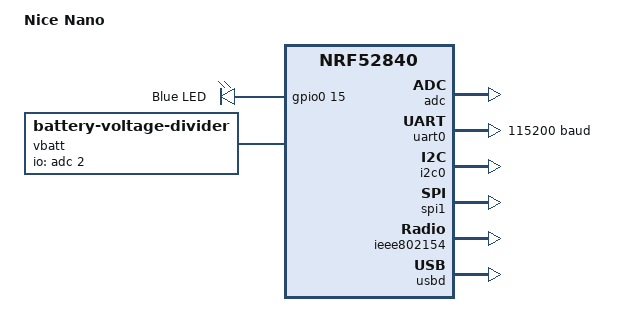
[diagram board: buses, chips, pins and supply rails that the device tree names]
/*
 * Copyright (c) 2020 Tobias Svehagen
 *
 * SPDX-License-Identifier: Apache-2.0
 */

/dts-v1/;
#include <nordic/nrf52840_qiaa.dtsi>
#include "nicenano-pinctrl.dtsi"
#include "nicenano_connector.dtsi"
#include <zephyr/dt-bindings/input/input-event-codes.h>

/ {
	model = "Nice Nano";
	compatible = "custom,nicenano";

	chosen {
		zephyr,console = &usb_cdc_acm_uart;
		zephyr,shell-uart = &usb_cdc_acm_uart;
		zephyr,uart-mcumgr = &usb_cdc_acm_uart;
		zephyr,bt-mon-uart = &usb_cdc_acm_uart;
		zephyr,bt-c2h-uart = &usb_cdc_acm_uart;
		zephyr,sram = &sram0;
		zephyr,flash = &flash0;
		zephyr,code-partition = &code_partition;
		zephyr,ieee802154 = &ieee802154;
	};

	leds {
		compatible = "gpio-leds";
		led0: led_0 {
			gpios = <&gpio0 15 GPIO_ACTIVE_HIGH>;
			label = "Blue LED";
		};
	};

        vbatt {
                compatible = "zmk,battery-voltage-divider";
                io-channels = <&adc 2>;
                output-ohms = <2000000>;
                full-ohms = <(2000000 + 806000)>;
        };

	/* These aliases are provided for compatibility with samples */
	aliases {
		led0 = &led0;
		watchdog0 = &wdt0;
	};
};

&adc {
	status = "okay";
};

&uicr {
	gpio-as-nreset;
};

&gpiote {
	status = "okay";
};

&gpio0 {
	status = "okay";
};

&gpio1 {
	status = "okay";
};

&uart0 {
	compatible = "nordic,nrf-uarte";
	status = "okay";
	current-speed = <115200>;
	pinctrl-0 = <&uart0_default>;
	pinctrl-1 = <&uart0_sleep>;
	pinctrl-names = "default", "sleep";
};

&i2c0 {
	compatible = "nordic,nrf-twi";
	status = "okay";
	pinctrl-0 = <&i2c0_default>;
	pinctrl-1 = <&i2c0_sleep>;
	pinctrl-names = "default", "sleep";
};

&spi1 {
	compatible = "nordic,nrf-spi";
	status = "okay";
	pinctrl-0 = <&spi1_default>;
	pinctrl-1 = <&spi1_sleep>;
	pinctrl-names = "default", "sleep";
};

&ieee802154 {
	status = "okay";
};

&flash0 {

	partitions {
		compatible = "fixed-partitions";
		#address-cells = <1>;
		#size-cells = <1>;

                sd_partition: partition@0 {
                    reg = <0x00000000 0x00026000>;
                };
                code_partition: partition@26000 {
                    reg = <0x00026000 0x000c6000>;
                };

                /*
                 * The flash starting at 0x000ec000 and ending at
                 * 0x000f3fff is reserved for use by the application.
                 */

                /*
                 * Storage partition will be used by FCB/LittleFS/NVS
                 * if enabled.
                 */
                storage_partition: partition@ec000 {
                    reg = <0x000ec000 0x00008000>;
                };

                boot_partition: partition@f4000 {
                    reg = <0x000f4000 0x0000c000>;
                };

	};
};

zephyr_udc0: &usbd {
	compatible = "nordic,nrf-usbd";
	status = "okay";

	usb_cdc_acm_uart: cdc-acm-uart {
		compatible = "zephyr,cdc-acm-uart";
	};
};
